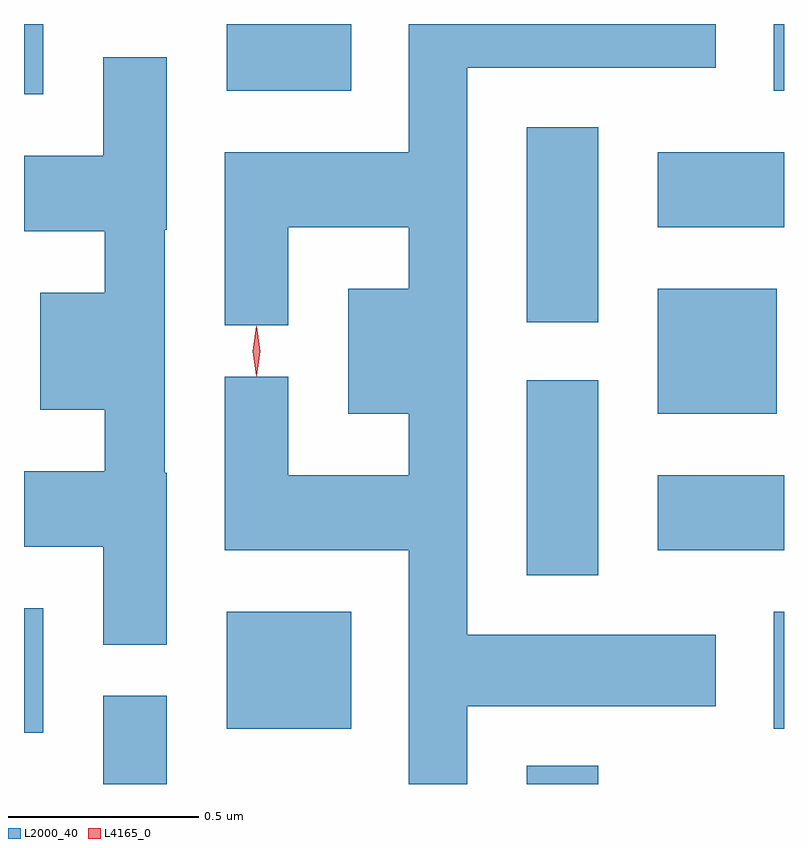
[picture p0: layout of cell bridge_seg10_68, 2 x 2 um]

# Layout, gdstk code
import gdstk
lib = gdstk.Library(unit=1e-6, precision=1e-09)
def R(c, l, rs):  # rectangles x0, y0, x1, y1
    for r in rs: c.add(gdstk.rectangle(r[:2], r[2:], *l))
def P(c, l, *ps):  # polygons
    for p in ps: c.add(gdstk.Polygon(p, *l))
L2000_40 = (2000, 40)
L4165_0 = (4165, 0)

bridge_seg10_68 = lib.new_cell('bridge_seg10_68')
R(bridge_seg10_68, L2000_40, [(1624.601,2168.031,1624.769,2168.263), (1625.716,2168.031,1625.904,2168.079), (1624.393,2168.166,1624.444,2168.494), (1624.926,2168.176,1625.254,2168.484), (1626.366,2168.176,1626.393,2168.484), (1625.716,2168.581,1625.904,2169.094), (1626.061,2168.646,1626.393,2168.844), (1626.061,2169.006,1626.374,2169.334), (1625.716,2169.246,1625.904,2169.759), (1626.061,2169.496,1626.393,2169.694), (1624.393,2169.846,1624.444,2170.031), (1624.926,2169.856,1625.254,2170.031), (1626.366,2169.856,1626.393,2170.031)])
P(bridge_seg10_68, L2000_40, [(1625.559,2168.236),(1626.214,2168.236),(1626.214,2168.424),(1625.559,2168.424),(1625.559,2169.916),(1626.214,2169.916),(1626.214,2170.031),(1625.406,2170.031),(1625.406,2169.694),(1624.921,2169.694),(1624.921,2169.238),(1625.089,2169.238),(1625.089,2169.496),(1625.406,2169.496),(1625.406,2169.334),(1625.246,2169.334),(1625.246,2169.006),(1625.406,2169.006),(1625.406,2168.844),(1625.089,2168.844),(1625.089,2169.103),(1624.921,2169.103),(1624.921,2168.646),(1625.406,2168.646),(1625.406,2168.031),(1625.559,2168.031)],
  [(1624.769,2168.85),(1624.764,2168.85),(1624.764,2169.49),(1624.769,2169.49),(1624.769,2169.943),(1624.601,2169.943),(1624.601,2169.684),(1624.393,2169.684),(1624.393,2169.486),(1624.606,2169.486),(1624.606,2169.324),(1624.436,2169.324),(1624.436,2169.016),(1624.606,2169.016),(1624.606,2168.854),(1624.393,2168.854),(1624.393,2168.656),(1624.601,2168.656),(1624.601,2168.398),(1624.769,2168.398)])
P(bridge_seg10_68, L4165_0, [(1625.005,2169.104),(1625.004,2169.105),(1624.995,2169.17),(1625.004,2169.235),(1625.005,2169.236),(1625.005,2169.235),(1625.015,2169.17),(1625.005,2169.105)])

lib.write_gds('bridge_seg10_68.gds')
